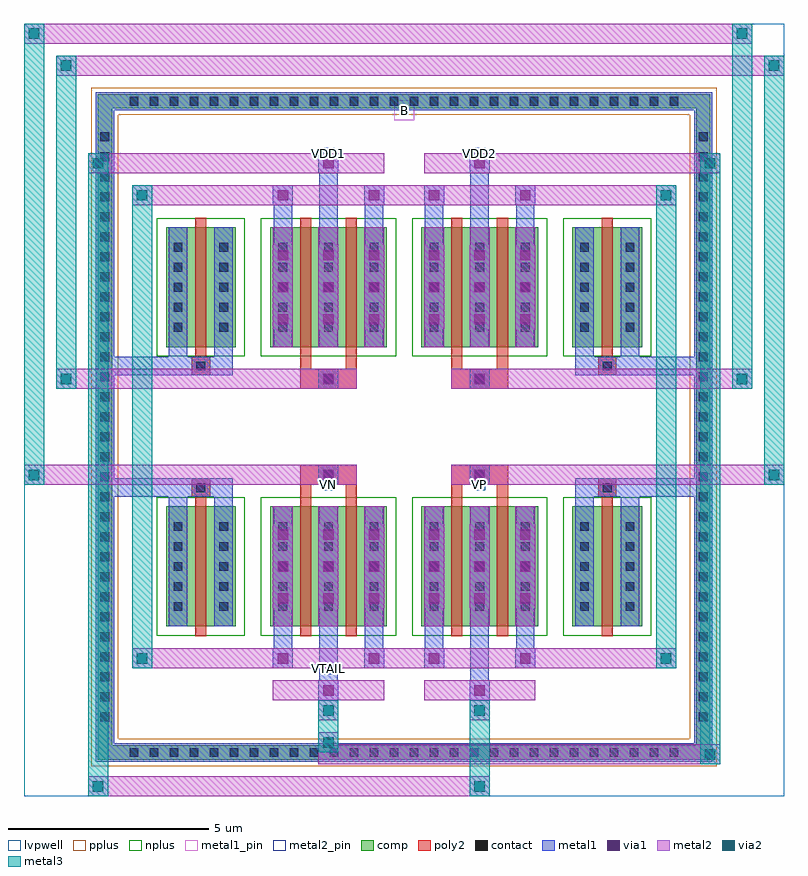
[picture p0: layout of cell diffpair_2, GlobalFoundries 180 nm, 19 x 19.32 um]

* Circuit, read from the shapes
.subckt diffpair_2 B VDD1 VDD2 VN VP VTAIL
XM1 B B B B nfet_03v3 w=3u l=0.28u m=4
XM2 VDD2 VN VTAIL B nfet_03v3 w=3u l=0.28u m=4
XM3 VDD1 VP VTAIL B nfet_03v3 w=3u l=0.28u m=4
.ends

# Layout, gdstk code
import gdstk
lib = gdstk.Library(unit=1e-6, precision=5e-09)
def R(c, l, rs):  # rectangles x0, y0, x1, y1
    for r in rs: c.add(gdstk.rectangle(r[:2], r[2:], *l))
def A(c, l, x, y, w, h, nx, ny, dx, dy):  # array of equal rectangles
    R(c, l, [(x+i*dx, y+j*dy, x+i*dx+w, y+j*dy+h) for i in range(nx) for j in range(ny)])
def P(c, l, *ps):  # polygons
    for p in ps: c.add(gdstk.Polygon(p, *l))
comp = (22, 0)
poly2 = (30, 0)
pplus = (31, 0)
nplus = (32, 0)
contact = (33, 0)
metal1 = (34, 0)
metal1_pin = (34, 10)
via1 = (35, 0)
metal2 = (36, 0)
metal2_pin = (36, 10)
via2 = (38, 0)
metal3 = (42, 0)
lvpwell = (204, 0)

diffpair_2 = lib.new_cell('diffpair_2')
A(diffpair_2, comp, -6.93, -8.32, 0.36, 0.36, 28, 2, 0.5, 16.28)
A(diffpair_2, comp, -7.66, -7.43, 0.36, 0.36, 1, 30, 0, 0.5)
A(diffpair_2, comp, 7.3, -7.43, 0.36, 0.36, 1, 30, 0, 0.5)
R(diffpair_2, comp, [(-6.93,-8.32,6.93,-7.96), (-7.66,-7.43,-7.3,7.43), (7.3,-7.43,7.66,7.43), (-5.95,-4.99,-4.21,-1.99), (-3.35,-4.99,-0.43,-1.99), (0.43,-4.99,3.35,-1.99), (4.21,-4.99,5.95,-1.99), (-5.95,1.99,-4.21,4.99), (-3.35,1.99,-0.43,4.99), (0.43,1.99,3.35,4.99), (4.21,1.99,5.95,4.99), (-6.93,7.96,6.93,8.32)])
P(diffpair_2, comp, [(7.66,8.32),(-7.66,8.32),(-7.66,-7.96),(-7.3,-7.96),(-7.3,7.96),(7.3,7.96),(7.3,-7.96),(-7.3,-7.96),(-7.66,-7.96),(-7.66,-8.32),(7.66,-8.32)])
R(diffpair_2, poly2, [(-5.22,-5.23,-4.94,-1.75), (-2.6,-5.23,-2.32,-1.75), (-1.46,-5.23,-1.18,-1.75), (1.18,-5.23,1.46,-1.75), (2.32,-5.23,2.6,-1.75), (4.94,-5.23,5.22,-1.75), (-5.31,-1.75,-4.85,-1.29), (-2.6,-1.75,-2.32,-1.45), (-1.46,-1.75,-1.18,-1.45), (1.18,-1.75,1.46,-1.45), (2.32,-1.75,2.6,-1.45), (4.85,-1.75,5.31,-1.29), (-5.26,-1.7,-4.9,-1.34), (4.9,-1.7,5.26,-1.34), (-2.6,-1.45,-1.18,-0.95), (1.18,-1.45,2.6,-0.95), (-2.07,-1.38,-1.71,-1.02), (1.71,-1.38,2.07,-1.02), (-2.6,0.95,-1.18,1.45), (1.18,0.95,2.6,1.45), (-2.07,1.02,-1.71,1.38), (1.71,1.02,2.07,1.38), (-5.31,1.29,-4.85,1.75), (4.85,1.29,5.31,1.75), (-5.26,1.34,-4.9,1.7), (4.9,1.34,5.26,1.7), (-2.6,1.45,-2.32,1.75), (-1.46,1.45,-1.18,1.75), (1.18,1.45,1.46,1.75), (2.32,1.45,2.6,1.75), (-5.22,1.75,-4.94,5.23), (-2.6,1.75,-2.32,5.23), (-1.46,1.75,-1.18,5.23), (1.18,1.75,1.46,5.23), (2.32,1.75,2.6,5.23), (4.94,1.75,5.22,5.23)])
P(diffpair_2, pplus, [(7.82,8.48),(-7.82,8.48),(-7.82,-7.8),(-7.14,-7.8),(-7.14,7.8),(7.14,7.8),(7.14,-7.8),(-7.14,-7.8),(-7.82,-7.8),(-7.82,-8.48),(7.82,-8.48)])
R(diffpair_2, nplus, [(-6.18,-5.22,-3.98,-1.76), (-3.58,-5.22,-0.2,-1.76), (0.2,-5.22,3.58,-1.76), (3.98,-5.22,6.18,-1.76), (-6.18,1.76,-3.98,5.22), (-3.58,1.76,-0.2,5.22), (0.2,1.76,3.58,5.22), (3.98,1.76,6.18,5.22)])
A(diffpair_2, contact, -6.86, -8.25, 0.22, 0.22, 28, 2, 0.5, 16.28)
A(diffpair_2, contact, -7.59, -7.36, 0.22, 0.22, 1, 30, 0, 0.5)
A(diffpair_2, contact, 7.37, -7.36, 0.22, 0.22, 1, 30, 0, 0.5)
A(diffpair_2, contact, -5.76, -4.6, 0.22, 0.22, 1, 5, 0, 0.5)
A(diffpair_2, contact, -4.62, -4.6, 0.22, 0.22, 1, 5, 0, 0.5)
A(diffpair_2, contact, -3.14, -4.6, 0.22, 0.22, 3, 5, 1.14, 0.5)
A(diffpair_2, contact, 0.64, -4.6, 0.22, 0.22, 3, 5, 1.14, 0.5)
A(diffpair_2, contact, 4.4, -4.6, 0.22, 0.22, 1, 5, 0, 0.5)
A(diffpair_2, contact, 5.54, -4.6, 0.22, 0.22, 1, 5, 0, 0.5)
A(diffpair_2, contact, -5.76, 2.38, 0.22, 0.22, 1, 5, 0, 0.5)
A(diffpair_2, contact, -4.62, 2.38, 0.22, 0.22, 1, 5, 0, 0.5)
A(diffpair_2, contact, -3.14, 2.38, 0.22, 0.22, 3, 5, 1.14, 0.5)
A(diffpair_2, contact, 0.64, 2.38, 0.22, 0.22, 3, 5, 1.14, 0.5)
A(diffpair_2, contact, 4.4, 2.38, 0.22, 0.22, 1, 5, 0, 0.5)
A(diffpair_2, contact, 5.54, 2.38, 0.22, 0.22, 1, 5, 0, 0.5)
R(diffpair_2, contact, [(-5.19,-1.63,-4.97,-1.41), (4.97,-1.63,5.19,-1.41), (-2,-1.31,-1.78,-1.09), (1.78,-1.31,2,-1.09), (-2,1.09,-1.78,1.31), (1.78,1.09,2,1.31), (-5.19,1.41,-4.97,1.63), (4.97,1.41,5.19,1.63)])
A(diffpair_2, metal1, -6.98, -8.37, 0.46, 0.46, 28, 2, 0.5, 16.28)
A(diffpair_2, metal1, -7.71, -7.48, 0.46, 0.46, 1, 30, 0, 0.5)
A(diffpair_2, metal1, 7.25, -7.48, 0.46, 0.46, 1, 30, 0, 0.5)
A(diffpair_2, metal1, -3.26, -4.99, 0.46, 3, 3, 2, 1.14, 6.98)
A(diffpair_2, metal1, 0.52, -4.99, 0.46, 3, 3, 2, 1.14, 6.98)
A(diffpair_2, metal1, -5.88, -4.72, 0.46, 0.46, 1, 5, 0, 0.5)
A(diffpair_2, metal1, -4.74, -4.72, 0.46, 0.46, 1, 5, 0, 0.5)
A(diffpair_2, metal1, -3.26, -4.72, 0.46, 0.46, 3, 5, 1.14, 0.5)
A(diffpair_2, metal1, 0.52, -4.72, 0.46, 0.46, 3, 5, 1.14, 0.5)
A(diffpair_2, metal1, 4.28, -4.72, 0.46, 0.46, 1, 5, 0, 0.5)
A(diffpair_2, metal1, 5.42, -4.72, 0.46, 0.46, 1, 5, 0, 0.5)
A(diffpair_2, metal1, -3.28, -4.54, 0.5, 0.5, 3, 3, 1.14, 0.8)
A(diffpair_2, metal1, -3.28, -4.54, 0.5, 2.1, 3, 2, 1.14, 6.98)
A(diffpair_2, metal1, 0.5, -4.54, 0.5, 0.5, 3, 3, 1.14, 0.8)
A(diffpair_2, metal1, 0.5, -4.54, 0.5, 2.1, 3, 2, 1.14, 6.98)
A(diffpair_2, metal1, -5.88, 2.26, 0.46, 0.46, 1, 5, 0, 0.5)
A(diffpair_2, metal1, -4.74, 2.26, 0.46, 0.46, 1, 5, 0, 0.5)
A(diffpair_2, metal1, -3.26, 2.26, 0.46, 0.46, 3, 5, 1.14, 0.5)
A(diffpair_2, metal1, 0.52, 2.26, 0.46, 0.46, 3, 5, 1.14, 0.5)
A(diffpair_2, metal1, 4.28, 2.26, 0.46, 0.46, 1, 5, 0, 0.5)
A(diffpair_2, metal1, 5.42, 2.26, 0.46, 0.46, 1, 5, 0, 0.5)
A(diffpair_2, metal1, -3.28, 2.44, 0.5, 0.5, 3, 3, 1.14, 0.8)
A(diffpair_2, metal1, 0.5, 2.44, 0.5, 0.5, 3, 3, 1.14, 0.8)
R(diffpair_2, metal1, [(-7.71,-8.37,-7.3,-7.91), (-7.71,-8.37,-7.25,-7.96), (-7.3,-8.37,7.3,-7.91), (7.25,-8.37,7.71,-7.96), (7.3,-8.37,7.71,-7.91), (-7.71,-7.96,-7.25,7.96), (7.25,-7.96,7.71,7.96), (-2.14,-6.84,-1.64,-6.34), (-2.12,-6.84,-1.66,-4.99), (1.64,-6.84,2.14,-6.34), (1.66,-6.84,2.12,-4.99), (-3.28,-6.04,-2.78,-5.54), (-3.26,-6.04,-2.8,-4.99), (-1,-6.04,-0.5,-5.54), (-0.98,-6.04,-0.52,-4.99), (0.5,-6.04,1,-5.54), (0.52,-6.04,0.98,-4.99), (2.78,-6.04,3.28,-5.54), (2.8,-6.04,3.26,-4.99), (-5.88,-4.99,-5.42,-1.99), (-4.74,-4.99,-4.28,-1.99), (4.28,-4.99,4.74,-1.99), (5.42,-4.99,5.88,-1.99), (-5.88,-1.99,-5.42,-1.29), (-4.74,-1.99,-4.28,-1.29), (4.28,-1.99,4.74,-1.29), (5.42,-1.99,5.88,-1.29), (-7.71,-1.75,-5.31,-1.29), (-5.88,-1.75,-5.31,-1.29), (-5.31,-1.75,-4.85,-1.29), (-4.85,-1.75,-4.28,-1.29), (4.28,-1.75,4.85,-1.29), (4.85,-1.75,5.31,-1.29), (4.85,-1.75,7.71,-1.29), (5.31,-1.75,5.88,-1.29), (-2.14,-1.45,-1.64,-0.95), (1.64,-1.45,2.14,-0.95), (-2.14,0.95,-1.64,1.45), (1.64,0.95,2.14,1.45), (-7.71,1.29,-5.31,1.75), (-5.88,1.29,-5.31,1.75), (-5.88,1.29,-5.42,1.99), (-5.31,1.29,-4.85,1.75), (-4.85,1.29,-4.28,1.75), (-4.74,1.29,-4.28,1.99), (4.28,1.29,4.85,1.75), (4.28,1.29,4.74,1.99), (4.85,1.29,5.31,1.75), (4.85,1.29,7.71,1.75), (5.31,1.29,5.88,1.75), (5.42,1.29,5.88,1.99), (-5.88,1.99,-5.42,4.99), (-4.74,1.99,-4.28,4.99), (4.28,1.99,4.74,4.99), (5.42,1.99,5.88,4.99), (-3.26,4.99,-2.8,6.04), (-2.12,4.99,-1.66,6.84), (-0.98,4.99,-0.52,6.04), (0.52,4.99,0.98,6.04), (1.66,4.99,2.12,6.84), (2.8,4.99,3.26,6.04), (-3.28,5.54,-2.78,6.04), (-1,5.54,-0.5,6.04), (0.5,5.54,1,6.04), (2.78,5.54,3.28,6.04), (-2.14,6.34,-1.64,6.84), (1.64,6.34,2.14,6.84), (-7.71,7.91,-7.3,8.37), (-7.3,7.91,7.3,8.37), (7.3,7.91,7.71,8.37), (-7.71,7.96,-7.25,8.37), (7.25,7.96,7.71,8.37)])
R(diffpair_2, metal1_pin, [(-0.25,7.66,0.25,8.16)])
A(diffpair_2, via1, -3.16, -4.42, 0.26, 0.26, 3, 3, 1.14, 0.8)
A(diffpair_2, via1, 0.62, -4.42, 0.26, 0.26, 3, 3, 1.14, 0.8)
A(diffpair_2, via1, -3.16, 2.56, 0.26, 0.26, 3, 3, 1.14, 0.8)
A(diffpair_2, via1, 0.62, 2.56, 0.26, 0.26, 3, 3, 1.14, 0.8)
R(diffpair_2, via1, [(-2.02,-6.72,-1.76,-6.46), (1.76,-6.72,2.02,-6.46), (-3.16,-5.92,-2.9,-5.66), (-0.88,-5.92,-0.62,-5.66), (0.62,-5.92,0.88,-5.66), (2.9,-5.92,3.16,-5.66), (-2.02,-1.33,-1.76,-1.07), (1.76,-1.33,2.02,-1.07), (-2.02,1.07,-1.76,1.33), (1.76,1.07,2.02,1.33), (-3.16,5.66,-2.9,5.92), (-0.88,5.66,-0.62,5.92), (0.62,5.66,0.88,5.92), (2.9,5.66,3.16,5.92), (-2.02,6.46,-1.76,6.72), (1.76,6.46,2.02,6.72)])
A(diffpair_2, metal2, -3.28, -4.99, 0.5, 3, 3, 2, 1.14, 6.98)
A(diffpair_2, metal2, 0.5, -4.99, 0.5, 3, 3, 2, 1.14, 6.98)
A(diffpair_2, metal2, -3.28, -4.54, 0.5, 0.5, 3, 3, 1.14, 0.8)
A(diffpair_2, metal2, 0.5, -4.54, 0.5, 0.5, 3, 3, 1.14, 0.8)
A(diffpair_2, metal2, -3.28, 2.44, 0.5, 0.5, 3, 3, 1.14, 0.8)
A(diffpair_2, metal2, 0.5, 2.44, 0.5, 0.5, 3, 3, 1.14, 0.8)
R(diffpair_2, metal2, [(-7.9,-9.24,-7.4,-8.74), (-7.9,-9.24,2.14,-8.74), (1.64,-9.24,2.14,-8.74), (-2.14,-8.44,7.9,-7.94), (7.4,-8.44,7.9,-7.94), (-2.14,-8.14,-1.64,-7.64), (-2.14,-7.34,-1.64,-6.84), (1.64,-7.34,2.14,-6.84), (-3.28,-6.84,-0.5,-6.34), (-2.14,-6.84,-1.64,-6.34), (0.5,-6.84,3.28,-6.34), (1.64,-6.84,2.14,-6.34), (-6.8,-6.04,-6.3,-5.54), (-6.8,-6.04,-3.28,-5.54), (-3.28,-6.04,-2.78,-5.54), (-3.28,-6.04,-0.5,-5.54), (-1,-6.04,-0.5,-5.54), (-0.5,-6.04,0.5,-5.54), (0.5,-6.04,1,-5.54), (0.5,-6.04,3.28,-5.54), (2.78,-6.04,3.28,-5.54), (3.28,-6.04,6.8,-5.54), (6.3,-6.04,6.8,-5.54), (-9.5,-1.45,-9,-0.95), (-9.5,-1.45,-1.18,-0.95), (-2.6,-1.45,-1.18,-0.95), (-2.14,-1.45,-1.64,-0.95), (1.18,-1.45,2.6,-0.95), (1.18,-1.45,9.5,-0.95), (1.64,-1.45,2.14,-0.95), (9,-1.45,9.5,-0.95), (-8.7,0.95,-8.2,1.45), (-8.7,0.95,-2.6,1.45), (-2.6,0.95,-1.18,1.45), (-2.14,0.95,-1.64,1.45), (1.18,0.95,2.6,1.45), (1.64,0.95,2.14,1.45), (2.6,0.95,8.7,1.45), (8.2,0.95,8.7,1.45), (-6.8,5.54,-6.3,6.04), (-6.8,5.54,-3.28,6.04), (-3.28,5.54,-2.78,6.04), (-3.28,5.54,-0.5,6.04), (-1,5.54,-0.5,6.04), (-0.5,5.54,0.5,6.04), (0.5,5.54,1,6.04), (0.5,5.54,3.28,6.04), (2.78,5.54,3.28,6.04), (3.28,5.54,6.8,6.04), (6.3,5.54,6.8,6.04), (-7.9,6.34,-7.4,6.84), (-7.9,6.34,-3.28,6.84), (-3.28,6.34,-0.5,6.84), (-2.14,6.34,-1.64,6.84), (0.5,6.34,3.28,6.84), (1.64,6.34,2.14,6.84), (3.28,6.34,7.9,6.84), (7.4,6.34,7.9,6.84), (-8.7,8.78,-8.2,9.28), (-8.7,8.78,-6.3,9.28), (-6.3,8.78,6.3,9.28), (6.3,8.78,9.5,9.28), (9,8.78,9.5,9.28), (-9.5,9.58,-9,10.08), (-9.5,9.58,-6.3,10.08), (-6.3,9.58,6.3,10.08), (6.3,9.58,8.7,10.08), (8.2,9.58,8.7,10.08)])
R(diffpair_2, metal2_pin, [(-2.03,-6.18,-1.75,-5.9), (-2.03,-1.59,-1.75,-1.31), (1.75,-1.59,2.03,-1.31), (-2.03,6.7,-1.75,6.98), (1.75,6.7,2.03,6.98)])
R(diffpair_2, via2, [(-7.78,-9.12,-7.52,-8.86), (1.76,-9.12,2.02,-8.86), (7.52,-8.32,7.78,-8.06), (-2.02,-8.02,-1.76,-7.76), (-2.02,-7.22,-1.76,-6.96), (1.76,-7.22,2.02,-6.96), (-6.68,-5.92,-6.42,-5.66), (6.42,-5.92,6.68,-5.66), (-9.38,-1.33,-9.12,-1.07), (9.12,-1.33,9.38,-1.07), (-8.58,1.07,-8.32,1.33), (8.32,1.07,8.58,1.33), (-6.68,5.66,-6.42,5.92), (6.42,5.66,6.68,5.92), (-7.78,6.46,-7.52,6.72), (7.52,6.46,7.78,6.72), (-8.58,8.9,-8.32,9.16), (9.12,8.9,9.38,9.16), (-9.38,9.7,-9.12,9.96), (8.32,9.7,8.58,9.96)])
R(diffpair_2, metal3, [(-7.9,-9.24,-7.4,-8.74), (-7.9,-9.24,-7.4,-8.74), (-7.9,-9.24,-7.4,6.84), (1.64,-9.24,2.14,-8.74), (1.64,-8.74,2.14,-7.34), (7.4,-8.44,7.9,-7.94), (7.4,-8.44,7.9,-7.94), (7.4,-8.44,7.9,6.84), (-2.14,-8.14,-1.64,-7.64), (-2.14,-7.64,-1.64,-7.34), (-2.14,-7.34,-1.64,-6.84), (1.64,-7.34,2.14,-6.84), (-6.8,-6.04,-6.3,-5.54), (-6.8,-6.04,-6.3,-5.54), (-6.8,-6.04,-6.3,6.04), (6.3,-6.04,6.8,-5.54), (6.3,-6.04,6.8,-5.54), (6.3,-6.04,6.8,6.04), (-9.5,-1.45,-9,-0.95), (-9.5,-1.45,-9,-0.95), (-9.5,-1.45,-9,10.08), (9,-1.45,9.5,-0.95), (9,-1.45,9.5,-0.95), (9,-1.45,9.5,9.28), (-8.7,0.95,-8.2,1.45), (-8.7,0.95,-8.2,1.45), (-8.7,0.95,-8.2,9.28), (8.2,0.95,8.7,1.45), (8.2,0.95,8.7,1.45), (8.2,0.95,8.7,10.08), (-6.8,5.54,-6.3,6.04), (-6.8,5.54,-6.3,6.04), (6.3,5.54,6.8,6.04), (6.3,5.54,6.8,6.04), (-7.9,6.34,-7.4,6.84), (-7.9,6.34,-7.4,6.84), (7.4,6.34,7.9,6.84), (7.4,6.34,7.9,6.84), (-8.7,8.78,-8.2,9.28), (-8.7,8.78,-8.2,9.28), (9,8.78,9.5,9.28), (9,8.78,9.5,9.28), (-9.5,9.58,-9,10.08), (-9.5,9.58,-9,10.08), (8.2,9.58,8.7,10.08), (8.2,9.58,8.7,10.08)])
P(diffpair_2, metal3, [(9.5,-1.45),(9.5,-1.45),(9.5,-0.95),(9.5,-0.95)],
  [(9.5,8.78),(9.5,8.78),(9.5,9.28),(9.5,9.28)],
  [(-9,-1.45),(-9,-1.45),(-9,-0.95),(-9,-0.95)],
  [(-9,9.58),(-9,9.58),(-9,10.08),(-9,10.08)],
  [(8.7,0.95),(8.7,0.95),(8.7,1.45),(8.7,1.45)],
  [(8.7,9.58),(8.7,9.58),(8.7,10.08),(8.7,10.08)],
  [(-8.2,0.95),(-8.2,0.95),(-8.2,1.45),(-8.2,1.45)],
  [(-8.2,8.78),(-8.2,8.78),(-8.2,9.28),(-8.2,9.28)],
  [(-7.4,-9.24),(-7.4,-9.24),(-7.4,-8.74),(-7.4,-8.74)],
  [(-7.4,6.34),(-7.4,6.34),(-7.4,6.84),(-7.4,6.84)],
  [(7.9,-8.44),(7.9,-8.44),(7.9,-7.94),(7.9,-7.94)],
  [(7.9,6.34),(7.9,6.34),(7.9,6.84),(7.9,6.84)],
  [(-6.3,-6.04),(-6.3,-6.04),(-6.3,-5.54),(-6.3,-5.54)],
  [(-6.3,5.54),(-6.3,5.54),(-6.3,6.04),(-6.3,6.04)],
  [(6.8,-6.04),(6.8,-6.04),(6.8,-5.54),(6.8,-5.54)],
  [(6.8,5.54),(6.8,5.54),(6.8,6.04),(6.8,6.04)])
R(diffpair_2, lvpwell, [(-9.5,-9.24,9.5,10.08), (-6.3,-6.96,-0.08,-0.83), (0.08,-6.96,6.3,-0.83), (-6.3,0.83,-0.08,6.96), (0.08,0.83,6.3,6.96)])
diffpair_2.add(gdstk.Label('VTAIL', (-1.89,-6.04), layer=36, texttype=10))
diffpair_2.add(gdstk.Label('VN', (-1.89,-1.45), layer=36, texttype=10))
diffpair_2.add(gdstk.Label('VP', (1.89,-1.45), layer=36, texttype=10))
diffpair_2.add(gdstk.Label('B', (0,7.91), layer=34, texttype=10))
diffpair_2.add(gdstk.Label('VDD2', (1.89,6.84), layer=36, texttype=10))
diffpair_2.add(gdstk.Label('VDD1', (-1.89,6.84), layer=36, texttype=10))

lib.write_gds('diffpair_2.gds')
